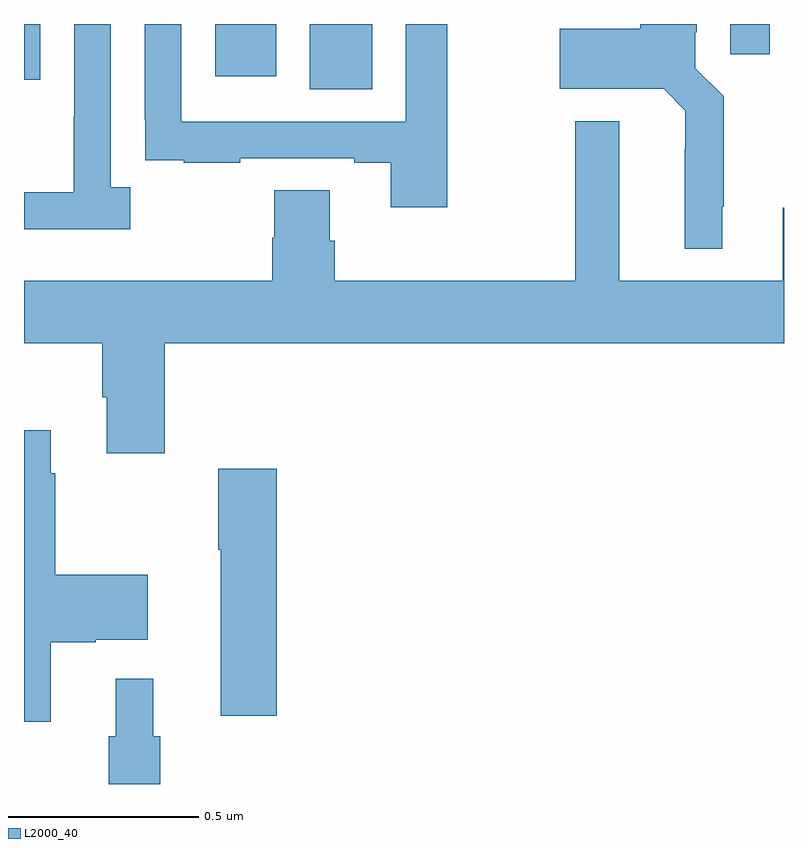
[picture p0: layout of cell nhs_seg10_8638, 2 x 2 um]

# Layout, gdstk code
import gdstk
lib = gdstk.Library(unit=1e-6, precision=1e-09)
def R(c, l, rs):  # rectangles x0, y0, x1, y1
    for r in rs: c.add(gdstk.rectangle(r[:2], r[2:], *l))
def P(c, l, *ps):  # polygons
    for p in ps: c.add(gdstk.Polygon(p, *l))
L2000_40 = (2000, 40)

nhs_seg10_8638 = lib.new_cell('nhs_seg10_8638')
R(nhs_seg10_8638, L2000_40, [(219.752,1290.328,219.916,1290.5), (219,1290.353,219.043,1290.5), (219.503,1290.363,219.664,1290.5), (220.859,1290.42,220.963,1290.5)])
P(nhs_seg10_8638, L2000_40, [(220.114,1290.5),(220.005,1290.5),(220.005,1290.243),(219.414,1290.243),(219.414,1290.5),(219.318,1290.5),(219.318,1290.25),(219.319,1290.25),(219.319,1290.141),(219.421,1290.141),(219.421,1290.135),(219.569,1290.135),(219.569,1290.147),(219.869,1290.147),(219.869,1290.135),(219.965,1290.135),(219.965,1290.018),(220.114,1290.018)],
  [(219.28,1290.07),(219.228,1290.07),(219.228,1290.5),(219.132,1290.5),(219.132,1290.257),(219.131,1290.257),(219.131,1290.057),(219,1290.057),(219,1289.96),(219.28,1289.96)],
  [(220.837,1290.019),(220.841,1290.019),(220.841,1290.31),(220.767,1290.384),(220.767,1290.478),(220.771,1290.478),(220.771,1290.5),(220.622,1290.5),(220.622,1290.487),(220.41,1290.487),(220.41,1290.329),(220.683,1290.329),(220.74,1290.272),(220.74,1290.17),(220.739,1290.17),(220.739,1289.909),(220.837,1289.909)],
  [(219.371,1289.66),(221,1289.66),(221,1290.016),(220.997,1290.016),(220.997,1289.824),(220.567,1289.824),(220.567,1290.244),(220.45,1290.244),(220.45,1289.824),(219.818,1289.824),(219.818,1289.93),(219.805,1289.93),(219.805,1290.062),(219.658,1290.062),(219.658,1289.937),(219.653,1289.937),(219.653,1289.824),(219,1289.824),(219,1289.66),(219.206,1289.66),(219.206,1289.518),(219.218,1289.518),(219.218,1289.37),(219.371,1289.37)],
  [(219.07,1288.873),(219.189,1288.873),(219.189,1288.88),(219.325,1288.88),(219.325,1289.051),(219.082,1289.051),(219.082,1289.318),(219.07,1289.318),(219.07,1289.431),(219,1289.431),(219,1288.664),(219.07,1288.664)],
  [(219.665,1289.329),(219.511,1289.329),(219.511,1289.116),(219.518,1289.116),(219.518,1288.68),(219.665,1288.68)],
  [(219.359,1288.626),(219.34,1288.626),(219.34,1288.777),(219.242,1288.777),(219.242,1288.626),(219.223,1288.626),(219.223,1288.5),(219.359,1288.5)])

lib.write_gds('nhs_seg10_8638.gds')
